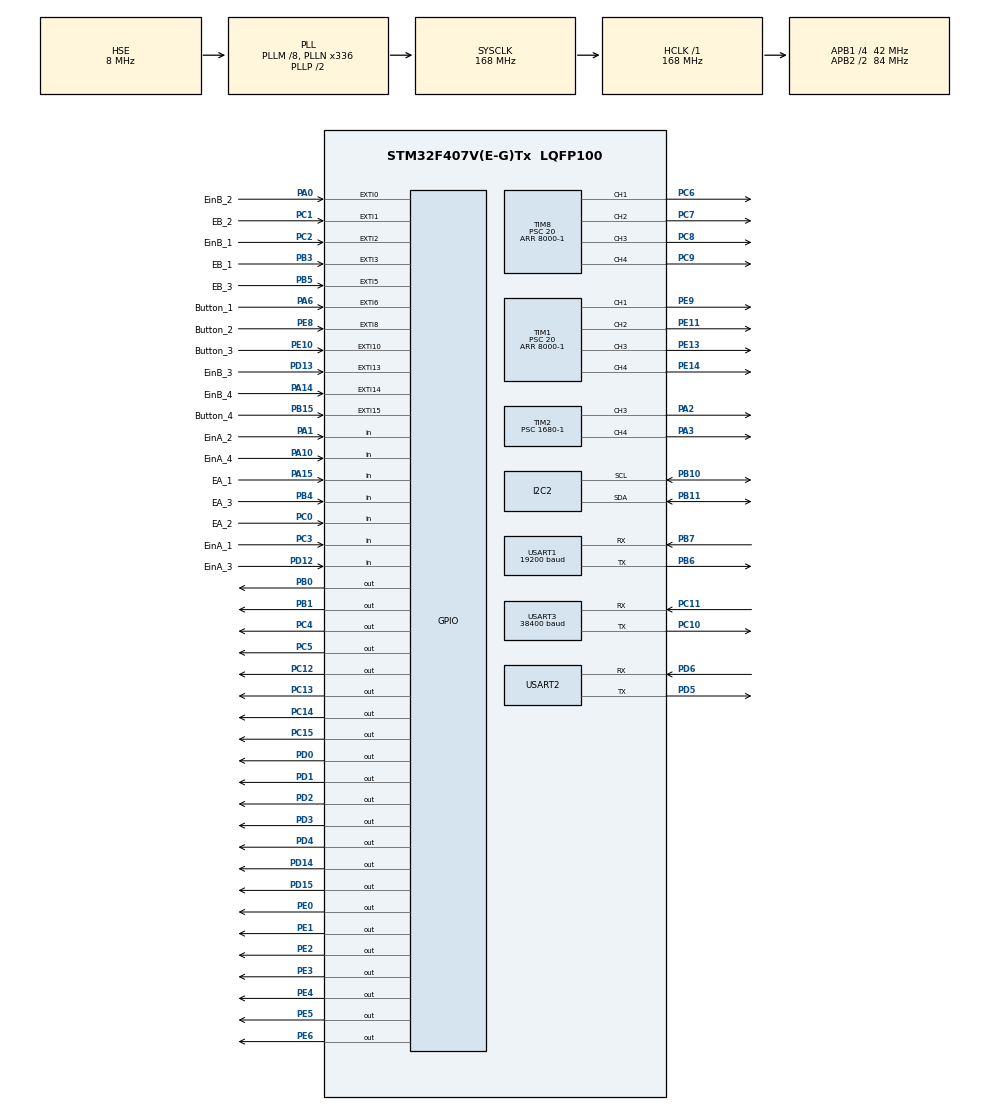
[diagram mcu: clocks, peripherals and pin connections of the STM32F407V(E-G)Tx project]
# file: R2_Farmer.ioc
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Mcu.Family=STM32F4
Mcu.Name=STM32F407V(E-G)Tx
Mcu.Package=LQFP100
NVIC.EXTI0_IRQn=true\:0\:0\:false\:false\:true\:true\:true\:true
NVIC.EXTI15_10_IRQn=true\:0\:0\:false\:false\:true\:true\:true\:true
NVIC.EXTI1_IRQn=true\:0\:0\:false\:false\:true\:true\:true\:true
NVIC.EXTI2_IRQn=true\:0\:0\:false\:false\:true\:true\:true\:true
NVIC.EXTI3_IRQn=true\:0\:0\:false\:false\:true\:true\:true\:true
NVIC.EXTI9_5_IRQn=true\:0\:0\:false\:false\:true\:true\:true\:true
NVIC.PriorityGroup=NVIC_PRIORITYGROUP_0
NVIC.TIM1_CC_IRQn=true\:0\:0\:false\:false\:true\:true\:true\:true
NVIC.TIM2_IRQn=true\:0\:0\:false\:false\:true\:true\:true\:true
NVIC.TIM8_CC_IRQn=true\:0\:0\:false\:false\:true\:true\:true\:true
NVIC.USART1_IRQn=true\:0\:0\:false\:false\:true\:true\:true\:true
NVIC.USART2_IRQn=true\:0\:0\:false\:false\:true\:true\:true\:true
NVIC.USART3_IRQn=true\:0\:0\:false\:false\:true\:true\:true\:true
PA0-WKUP.GPIO_Label=EinB_2
PA0-WKUP.GPIO_ModeDefaultEXTI=GPIO_MODE_IT_RISING
PA0-WKUP.GPIO_PuPd=GPIO_PULLUP
PA0-WKUP.Signal=GPXTI0
PA1.GPIO_Label=EinA_2
PA1.GPIO_PuPd=GPIO_PULLUP
PA1.Signal=GPIO_Input
PA10.GPIO_Label=EinA_4
PA10.GPIO_PuPd=GPIO_PULLUP
PA10.Signal=GPIO_Input
PA14.GPIO_Label=EinB_4
PA14.GPIO_PuPd=GPIO_PULLUP
PA14.Signal=GPXTI14
PA15.GPIO_Label=EA_1
PA15.GPIO_Mode=GPIO_MODE_INPUT
PA15.GPIO_PuPd=GPIO_PULLUP
PA15.Signal=GPIO_Input
PA2.GPIO_ModeDefaultPP=GPIO_MODE_AF_OD
PA2.GPIO_PuPd=GPIO_PULLDOWN
PA2.GPIO_Speed=GPIO_SPEED_FREQ_VERY_HIGH
PA2.Signal=S_TIM2_CH3
PA3.GPIO_ModeDefaultPP=GPIO_MODE_AF_OD
PA3.GPIO_PuPd=GPIO_PULLDOWN
PA3.GPIO_Speed=GPIO_SPEED_FREQ_VERY_HIGH
PA3.Signal=S_TIM2_CH4
PA6.GPIO_Label=Button_1
PA6.GPIO_ModeDefaultEXTI=GPIO_MODE_IT_FALLING
PA6.GPIO_PuPd=GPIO_PULLUP
PA6.Signal=GPXTI6
PB0.GPIO_ModeDefaultOutputPP=GPIO_MODE_OUTPUT_OD
PB0.GPIO_PuPd=GPIO_NOPULL
PB0.GPIO_Speed=GPIO_SPEED_FREQ_VERY_HIGH
PB0.Signal=GPIO_Output
PB1.GPIO_ModeDefaultOutputPP=GPIO_MODE_OUTPUT_OD
PB1.GPIO_PuPd=GPIO_NOPULL
PB1.GPIO_Speed=GPIO_SPEED_FREQ_VERY_HIGH
PB1.Signal=GPIO_Output
PB10.Mode=I2C
PB10.Signal=I2C2_SCL
PB11.Mode=I2C
PB11.Signal=I2C2_SDA
PB15.GPIO_Label=Button_4
PB15.GPIO_ModeDefaultEXTI=GPIO_MODE_IT_FALLING
PB15.GPIO_PuPd=GPIO_PULLUP
PB15.Signal=GPXTI15
PB3.GPIO_Label=EB_1
PB3.GPIO_ModeDefaultEXTI=GPIO_MODE_IT_RISING
PB3.GPIO_PuPd=GPIO_PULLUP
PB3.Signal=GPXTI3
PB4.GPIO_Label=EA_3
PB4.GPIO_Mode=GPIO_MODE_INPUT
PB4.GPIO_PuPd=GPIO_PULLUP
PB4.Signal=GPIO_Input
PB5.GPIO_Label=EB_3
PB5.GPIO_ModeDefaultEXTI=GPIO_MODE_IT_RISING
PB5.GPIO_PuPd=GPIO_PULLUP
PB5.Signal=GPXTI5
PB6.Mode=Asynchronous
PB6.Signal=USART1_TX
PB7.Mode=Asynchronous
PB7.Signal=USART1_RX
PC0.GPIO_Label=EA_2
PC0.GPIO_PuPd=GPIO_PULLUP
PC0.Signal=GPIO_Input
PC1.GPIO_Label=EB_2
PC1.GPIO_ModeDefaultEXTI=GPIO_MODE_IT_RISING
PC1.GPIO_PuPd=GPIO_PULLUP
PC1.Signal=GPXTI1
PC10.Mode=Asynchronous
PC10.Signal=USART3_TX
PC11.Mode=Asynchronous
PC11.Signal=USART3_RX
PC12.GPIO_ModeDefaultOutputPP=GPIO_MODE_OUTPUT_OD
PC12.GPIO_PuPd=GPIO_NOPULL
PC12.GPIO_Speed=GPIO_SPEED_FREQ_VERY_HIGH
PC12.PinState=GPIO_PIN_RESET
PC12.Signal=GPIO_Output
PC13-ANTI_TAMP.GPIO_ModeDefaultOutputPP=GPIO_MODE_OUTPUT_OD
PC13-ANTI_TAMP.GPIO_PuPd=GPIO_NOPULL
PC13-ANTI_TAMP.PinState=GPIO_PIN_RESET
PC13-ANTI_TAMP.Signal=GPIO_Output
PC14-OSC32_IN.GPIO_ModeDefaultOutputPP=GPIO_MODE_OUTPUT_OD
PC14-OSC32_IN.GPIO_PuPd=GPIO_NOPULL
PC14-OSC32_IN.Signal=GPIO_Output
PC15-OSC32_OUT.GPIO_ModeDefaultOutputPP=GPIO_MODE_OUTPUT_OD
PC15-OSC32_OUT.GPIO_PuPd=GPIO_NOPULL
PC15-OSC32_OUT.Signal=GPIO_Output
PC2.GPIO_Label=EinB_1
PC2.GPIO_ModeDefaultEXTI=GPIO_MODE_IT_RISING
PC2.GPIO_PuPd=GPIO_PULLUP
PC2.Signal=GPXTI2
PC3.GPIO_Label=EinA_1
PC3.GPIO_PuPd=GPIO_PULLUP
PC3.Signal=GPIO_Input
PC4.GPIO_ModeDefaultOutputPP=GPIO_MODE_OUTPUT_OD
PC4.GPIO_PuPd=GPIO_NOPULL
PC4.GPIO_Speed=GPIO_SPEED_FREQ_VERY_HIGH
PC4.PinState=GPIO_PIN_RESET
PC4.Signal=GPIO_Output
PC5.GPIO_ModeDefaultOutputPP=GPIO_MODE_OUTPUT_OD
PC5.GPIO_PuPd=GPIO_NOPULL
PC5.GPIO_Speed=GPIO_SPEED_FREQ_VERY_HIGH
PC5.PinState=GPIO_PIN_RESET
PC5.Signal=GPIO_Output
PC6.GPIO_ModeDefaultPP=GPIO_MODE_AF_OD
PC6.GPIO_PuPd=GPIO_PULLDOWN
PC6.GPIO_Speed=GPIO_SPEED_FREQ_VERY_HIGH
PC6.Signal=S_TIM8_CH1
PC7.GPIO_ModeDefaultPP=GPIO_MODE_AF_OD
PC7.GPIO_PuPd=GPIO_PULLDOWN
PC7.GPIO_Speed=GPIO_SPEED_FREQ_VERY_HIGH
PC7.Signal=S_TIM8_CH2
PC8.GPIO_ModeDefaultPP=GPIO_MODE_AF_OD
PC8.GPIO_PuPd=GPIO_PULLDOWN
PC8.GPIO_Speed=GPIO_SPEED_FREQ_VERY_HIGH
PC8.Signal=S_TIM8_CH3
PC9.GPIO_ModeDefaultPP=GPIO_MODE_AF_OD
PC9.GPIO_PuPd=GPIO_PULLDOWN
PC9.GPIO_Speed=GPIO_SPEED_FREQ_VERY_HIGH
PC9.Signal=S_TIM8_CH4
PD0.GPIO_ModeDefaultOutputPP=GPIO_MODE_OUTPUT_OD
PD0.GPIO_PuPd=GPIO_NOPULL
PD0.GPIO_Speed=GPIO_SPEED_FREQ_VERY_HIGH
PD0.PinState=GPIO_PIN_RESET
PD0.Signal=GPIO_Output
PD1.GPIO_ModeDefaultOutputPP=GPIO_MODE_OUTPUT_OD
PD1.GPIO_PuPd=GPIO_NOPULL
PD1.GPIO_Speed=GPIO_SPEED_FREQ_VERY_HIGH
PD1.PinState=GPIO_PIN_RESET
PD1.Signal=GPIO_Output
PD12.GPIO_Label=EinA_3
PD12.GPIO_PuPd=GPIO_PULLUP
PD12.Signal=GPIO_Input
PD13.GPIO_Label=EinB_3
PD13.GPIO_ModeDefaultEXTI=GPIO_MODE_IT_RISING
PD13.GPIO_PuPd=GPIO_PULLUP
PD13.Signal=GPXTI13
PD14.GPIO_PuPd=GPIO_PULLDOWN
PD14.Signal=GPIO_Output
PD15.GPIO_PuPd=GPIO_PULLDOWN
PD15.Signal=GPIO_Output
PD2.GPIO_ModeDefaultOutputPP=GPIO_MODE_OUTPUT_OD
PD2.GPIO_PuPd=GPIO_NOPULL
PD2.GPIO_Speed=GPIO_SPEED_FREQ_VERY_HIGH
PD2.PinState=GPIO_PIN_RESET
PD2.Signal=GPIO_Output
PD3.GPIO_ModeDefaultOutputPP=GPIO_MODE_OUTPUT_OD
PD3.GPIO_PuPd=GPIO_NOPULL
PD3.GPIO_Speed=GPIO_SPEED_FREQ_VERY_HIGH
PD3.Signal=GPIO_Output
PD4.GPIO_ModeDefaultOutputPP=GPIO_MODE_OUTPUT_OD
PD4.GPIO_PuPd=GPIO_NOPULL
PD4.GPIO_Speed=GPIO_SPEED_FREQ_VERY_HIGH
PD4.Signal=GPIO_Output
PD5.Mode=Asynchronous
PD5.Signal=USART2_TX
PD6.Mode=Asynchronous
PD6.Signal=USART2_RX
PE0.GPIO_ModeDefaultOutputPP=GPIO_MODE_OUTPUT_OD
PE0.GPIO_PuPd=GPIO_NOPULL
PE0.GPIO_Speed=GPIO_SPEED_FREQ_VERY_HIGH
PE0.PinState=GPIO_PIN_RESET
PE0.Signal=GPIO_Output
PE1.GPIO_ModeDefaultOutputPP=GPIO_MODE_OUTPUT_OD
PE1.GPIO_PuPd=GPIO_NOPULL
PE1.GPIO_Speed=GPIO_SPEED_FREQ_VERY_HIGH
PE1.PinState=GPIO_PIN_RESET
PE1.Signal=GPIO_Output
PE10.GPIO_Label=Button_3
PE10.GPIO_ModeDefaultEXTI=GPIO_MODE_IT_FALLING
PE10.GPIO_PuPd=GPIO_PULLUP
PE10.Signal=GPXTI10
PE11.GPIO_ModeDefaultPP=GPIO_MODE_AF_OD
PE11.GPIO_PuPd=GPIO_PULLDOWN
PE11.GPIO_Speed=GPIO_SPEED_FREQ_VERY_HIGH
PE11.Signal=S_TIM1_CH2
PE13.GPIO_ModeDefaultPP=GPIO_MODE_AF_OD
PE13.GPIO_PuPd=GPIO_PULLDOWN
PE13.GPIO_Speed=GPIO_SPEED_FREQ_VERY_HIGH
PE13.Signal=S_TIM1_CH3
PE14.GPIO_ModeDefaultPP=GPIO_MODE_AF_OD
PE14.GPIO_PuPd=GPIO_PULLDOWN
PE14.GPIO_Speed=GPIO_SPEED_FREQ_VERY_HIGH
PE14.Signal=S_TIM1_CH4
PE2.GPIO_ModeDefaultOutputPP=GPIO_MODE_OUTPUT_OD
PE2.GPIO_PuPd=GPIO_NOPULL
PE2.GPIO_Speed=GPIO_SPEED_FREQ_VERY_HIGH
PE2.Signal=GPIO_Output
PE3.GPIO_ModeDefaultOutputPP=GPIO_MODE_OUTPUT_OD
PE3.GPIO_PuPd=GPIO_NOPULL
PE3.GPIO_Speed=GPIO_SPEED_FREQ_VERY_HIGH
PE3.Signal=GPIO_Output
PE4.GPIO_ModeDefaultOutputPP=GPIO_MODE_OUTPUT_OD
PE4.GPIO_PuPd=GPIO_NOPULL
PE4.GPIO_Speed=GPIO_SPEED_FREQ_VERY_HIGH
PE4.PinState=GPIO_PIN_RESET
PE4.Signal=GPIO_Output
PE5.GPIO_ModeDefaultOutputPP=GPIO_MODE_OUTPUT_OD
PE5.GPIO_PuPd=GPIO_NOPULL
PE5.GPIO_Speed=GPIO_SPEED_FREQ_VERY_HIGH
PE5.PinState=GPIO_PIN_RESET
PE5.Signal=GPIO_Output
PE6.GPIO_ModeDefaultOutputPP=GPIO_MODE_OUTPUT_OD
PE6.GPIO_PuPd=GPIO_NOPULL
PE6.GPIO_Speed=GPIO_SPEED_FREQ_VERY_HIGH
PE6.PinState=GPIO_PIN_RESET
PE6.Signal=GPIO_Output
PE8.GPIO_Label=Button_2
PE8.GPIO_ModeDefaultEXTI=GPIO_MODE_IT_FALLING
PE8.GPIO_PuPd=GPIO_PULLUP
PE8.Signal=GPXTI8
PE9.GPIO_ModeDefaultPP=GPIO_MODE_AF_OD
PE9.GPIO_PuPd=GPIO_PULLDOWN
PE9.GPIO_Speed=GPIO_SPEED_FREQ_VERY_HIGH
PE9.Signal=S_TIM1_CH1
PH0-OSC_IN.Mode=HSE-External-Oscillator
PH0-OSC_IN.Signal=RCC_OSC_IN
PH1-OSC_OUT.Mode=HSE-External-Oscillator
PH1-OSC_OUT.Signal=RCC_OSC_OUT
ProjectManager.HeapSize=0x200
ProjectManager.StackSize=0x400
ProjectManager.TargetToolchain=STM32CubeIDE
RCC.48MHZClocksFreq_Value=48000000
RCC.AHBFreq_Value=168000000
RCC.APB1CLKDivider=RCC_HCLK_DIV4
RCC.APB1Freq_Value=42000000
RCC.APB1TimFreq_Value=84000000
RCC.APB2CLKDivider=RCC_HCLK_DIV2
RCC.APB2Freq_Value=84000000
RCC.APB2TimFreq_Value=168000000
RCC.CortexFreq_Value=168000000
RCC.HCLKFreq_Value=168000000
RCC.HSE_VALUE=8000000
RCC.HSI_VALUE=16000000
RCC.LSE_VALUE=32768
RCC.PLLM=8
RCC.PLLN=336
RCC.PLLQ=7
RCC.PLLSourceVirtual=RCC_PLLSOURCE_HSE
RCC.SYSCLKFreq_VALUE=168000000
RCC.SYSCLKSource=RCC_SYSCLKSOURCE_PLLCLK
RCC.VCOOutputFreq_Value=336000000
SH.S_TIM1_CH1.0=TIM1_CH1,PWM Generation1 CH1
SH.S_TIM1_CH2.0=TIM1_CH2,PWM Generation2 CH2
SH.S_TIM1_CH3.0=TIM1_CH3,PWM Generation3 CH3
SH.S_TIM1_CH4.0=TIM1_CH4,PWM Generation4 CH4
SH.S_TIM2_CH3.0=TIM2_CH3,PWM Generation3 CH3
SH.S_TIM2_CH4.0=TIM2_CH4,PWM Generation4 CH4
SH.S_TIM8_CH1.0=TIM8_CH1,PWM Generation1 CH1
SH.S_TIM8_CH2.0=TIM8_CH2,PWM Generation2 CH2
SH.S_TIM8_CH3.0=TIM8_CH3,PWM Generation3 CH3
SH.S_TIM8_CH4.0=TIM8_CH4,PWM Generation4 CH4
TIM1.Channel-PWM\ Generation1\ CH1=TIM_CHANNEL_1
TIM1.Channel-PWM\ Generation2\ CH2=TIM_CHANNEL_2
TIM1.Channel-PWM\ Generation3\ CH3=TIM_CHANNEL_3
TIM1.Channel-PWM\ Generation4\ CH4=TIM_CHANNEL_4
TIM1.Period=8000-1
TIM1.Prescaler=20
TIM2.Channel-PWM\ Generation3\ CH3=TIM_CHANNEL_3
TIM2.Channel-PWM\ Generation4\ CH4=TIM_CHANNEL_4
TIM2.Period=999
TIM2.Prescaler=1680-1
TIM8.Channel-PWM\ Generation1\ CH1=TIM_CHANNEL_1
TIM8.Channel-PWM\ Generation2\ CH2=TIM_CHANNEL_2
TIM8.Channel-PWM\ Generation3\ CH3=TIM_CHANNEL_3
TIM8.Channel-PWM\ Generation4\ CH4=TIM_CHANNEL_4
TIM8.Period=8000-1
TIM8.Prescaler=20
USART1.BaudRate=19200
USART1.VirtualMode=VM_ASYNC
USART2.VirtualMode=VM_ASYNC
USART3.BaudRate=38400
USART3.VirtualMode=VM_ASYNC
VP_TIM1_VS_ClockSourceINT.Mode=Internal
VP_TIM2_VS_ClockSourceINT.Mode=Internal
VP_TIM8_VS_ClockSourceINT.Mode=Internal
board=STM32F407G-DISC1

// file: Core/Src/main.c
/* USER CODE BEGIN Header */
/**
  ******************************************************************************
  * @file           : main.c
  * @brief          : Main program body
  ******************************************************************************
  * @attention
  *
  * Copyright (c) 2024 STMicroelectronics.
  * All rights reserved.
  *
  * This software is licensed under terms that can be found in the LICENSE file
  * in the root directory of this software component.
  * If no LICENSE file comes with this software, it is provided AS-IS.
  *
  ******************************************************************************
  */
/* USER CODE END Header */
#include "main.h"

/* USER CODE BEGIN PTD */

/**
 * @brief movingState enumeration
 */
typedef enum
{
	VOID,

	RED_STEP,
	RED_STORAGE,
	RED_FIND_BALL,
	RED_FACING_SILO,
	RED_FIND_SILO,

	RED_RETRY,
	RED_RETRY_STORAGE,
	RED_RETRY_FIND_BALL,
	RED_RETRY_FACING_SILO,
	RED_RETRY_FIND_SILO,

	BLUE_STEP,
	BLUE_STORAGE,
	BLUE_FIND_BALL,
	BLUE_FACING_SILO,
	BLUE_FIND_SILO,

	BLUE_RETRY,
	BLUE_RETRY_STORAGE,
	BLUE_RETRY_FIND_BALL,
	BLUE_RETRY_FACING_SILO,
	BLUE_RETRY_FIND_SILO,
} movingState;
/* USER CODE END PTD */

I2C_HandleTypeDef hi2c2;

TIM_HandleTypeDef htim1;
TIM_HandleTypeDef htim2;
TIM_HandleTypeDef htim8;

UART_HandleTypeDef huart1;
UART_HandleTypeDef huart2;
UART_HandleTypeDef huart3;

/* USER CODE BEGIN PV */
volatile int counter1 = 0, counter2 = 0, counter3 = 0;
volatile int counterIN1 = 0, counterIN2 = 0, counterIN3 = 0, counterIN4 = 0;

/*   IMU Sensor MPU6050   */
uint8_t receive[50];
uint32_t rxIndex = 0;
uint32_t dataIndex = 0;
double sensorData[3];

/*   CAMERA   */
/*
 * Data from camera:
 * index 0 -> Ball Distance
 * index 1 -> Ball Angle
 * index 2 -> Ball Existence -> Diubah jadi cek bola di dalam robot (0 gak ada bola, 1 ada bola)
 * index 3 -> Silo 1 Distance
 * index 4 -> Silo 1 Angle
 * index 5 -> Silo 2 Distance
 * index 6 -> Silo 2 Angle
 * index 7 -> Silo 3 Distance
 * index 8 -> Silo 3 Angle
 * index 9 -> Silo 4 Distance
 * index 10 -> Silo 4 Angle
 * index 11 -> Silo 5 Distance
 * index 12 -> Silo 5 Angle
 * index 13 -> Silo 1 is full?
 * index 14 -> Silo 2 is full?
 * index 15 -> Silo 3 is full?
 * index 16 -> Silo 4 is full?
 * index 17 -> Silo 5 is full?
 *
 * Default distance for silo if its not detected is 9999
 * Default angle for silo if its not detected is 999
 */
uint8_t receiveCAM[50];
uint32_t indexCAM = 0;
uint32_t dataindexCAM = 0;
int camera[18];

/*   Arduino Mega   */
/*
 * Data from Arduino Mega:
 * index 0 -> Front left Distance
 * index 1 -> Front right Distance
 * index 2 -> Left Distance
 * index 3 -> Proximity
 */
uint8_t receiveMEGA[50];
uint32_t indexMEGA = 0;
uint32_t dataindexMEGA = 0;
int sensorMEGA[4];
/* USER CODE END PV */

void SystemClock_Config(void);
static void MX_GPIO_Init(void);
static void MX_I2C2_Init(void);
static void MX_TIM1_Init(void);
static void MX_TIM2_Init(void);
static void MX_TIM8_Init(void);
static void MX_USART1_UART_Init(void);
static void MX_USART2_UART_Init(void);
static void MX_USART3_UART_Init(void);

/* USER CODE BEGIN 0 */
movingState mode = VOID;

/**
 * @brief	Callback function for GPIO EXTI (External Interrupt).
 *
 * This function handles interrupts generated by the external GPIO pins.
 * It updates encoder counters and changes the operating mode based on button presses.
 *
 * @param	GPIO_Pin The GPIO pin that triggered the interrupt.
 * @return	None.
 */
void HAL_GPIO_EXTI_Callback(uint16_t GPIO_Pin)
{
	// ENCODER
	if((GPIO_Pin == EB_1_Pin) && (HAL_GPIO_ReadPin(EB_1_GPIO_Port, EB_1_Pin) == GPIO_PIN_SET))
	{
		HAL_GPIO_ReadPin(EA_1_GPIO_Port, EA_1_Pin) ? counter1-- : counter1++;
		__HAL_GPIO_EXTI_CLEAR_IT(EB_1_Pin);
	}
	else if((GPIO_Pin == EB_2_Pin) && (HAL_GPIO_ReadPin(EB_2_GPIO_Port, EB_2_Pin) == GPIO_PIN_SET))
	{
		HAL_GPIO_ReadPin(EA_2_GPIO_Port, EA_2_Pin) ? counter2-- : counter2++;
		__HAL_GPIO_EXTI_CLEAR_IT(EB_2_Pin);
	}
	else if((GPIO_Pin == EB_3_Pin) && (HAL_GPIO_ReadPin(EB_3_GPIO_Port, EB_3_Pin) == GPIO_PIN_SET))
	{
		HAL_GPIO_ReadPin(EA_3_GPIO_Port, EA_3_Pin) ? counter3-- : counter3++;
		__HAL_GPIO_EXTI_CLEAR_IT(EB_3_Pin);
	}
	else if((GPIO_Pin == EinB_1_Pin) && (HAL_GPIO_ReadPin(EinB_1_GPIO_Port, EinB_1_Pin) == GPIO_PIN_SET))
	{
		HAL_GPIO_ReadPin(EinA_1_GPIO_Port, EinA_1_Pin) ? counterIN1++ : counterIN1--;
		__HAL_GPIO_EXTI_CLEAR_IT(EinB_1_Pin);
	}
	else if((GPIO_Pin == EinB_2_Pin) && (HAL_GPIO_ReadPin(EinB_2_GPIO_Port, EinB_2_Pin) == GPIO_PIN_SET))
	{
		HAL_GPIO_ReadPin(EinA_2_GPIO_Port, EinA_2_Pin) ? counterIN2-- : counterIN2++;
		__HAL_GPIO_EXTI_CLEAR_IT(EinB_2_Pin);
	}
	else if((GPIO_Pin == EinB_3_Pin) && (HAL_GPIO_ReadPin(EinB_3_GPIO_Port, EinB_3_Pin) == GPIO_PIN_SET))
	{
		HAL_GPIO_ReadPin(EinA_3_GPIO_Port, EinA_3_Pin) ? counterIN3++ : counterIN3--;
		__HAL_GPIO_EXTI_CLEAR_IT(EinB_3_Pin);
	}
	else if((GPIO_Pin == EinB_4_Pin) && (HAL_GPIO_ReadPin(EinB_4_GPIO_Port, EinB_4_Pin) == GPIO_PIN_SET))
	{
		HAL_GPIO_ReadPin(EinA_4_GPIO_Port, EinA_4_Pin) ? counterIN4-- : counterIN4++;
		__HAL_GPIO_EXTI_CLEAR_IT(EinB_4_Pin);
	}

	// BUTTON
	else if((GPIO_Pin == Button_1_Pin) && (HAL_GPIO_ReadPin(Button_1_GPIO_Port, Button_1_Pin) == GPIO_PIN_RESET))
	{
		mode = mode + RED_STEP;
		if(mode > RED_STEP)
		{
			mode = VOID;
		}
		__HAL_GPIO_EXTI_CLEAR_IT(Button_1_Pin);
	}
	else if((GPIO_Pin == Button_2_Pin) && (HAL_GPIO_ReadPin(Button_2_GPIO_Port, Button_2_Pin) == GPIO_PIN_RESET))
	{
		mode = mode + RED_RETRY;
		if(mode > RED_RETRY)
		{
			mode = VOID;
		}
		__HAL_GPIO_EXTI_CLEAR_IT(Button_2_Pin);
	}
	else if((GPIO_Pin == Button_3_Pin) && (HAL_GPIO_ReadPin(Button_3_GPIO_Port, Button_3_Pin) == GPIO_PIN_RESET))
	{
		mode = mode + BLUE_STEP;
		if(mode > BLUE_STEP)
		{
			mode = VOID;
		}
		__HAL_GPIO_EXTI_CLEAR_IT(Button_3_Pin);
	}
	else if((GPIO_Pin == Button_4_Pin) && (HAL_GPIO_ReadPin(Button_4_GPIO_Port, Button_4_Pin) == GPIO_PIN_RESET))
	{
		mode = mode + BLUE_RETRY;
		if(mode > BLUE_RETRY)
		{
			mode = VOID;
		}
		__HAL_GPIO_EXTI_CLEAR_IT(Button_4_Pin);
	}
}
/* USER CODE END 0 */

int main(void)
{

  /* MCU Configuration--------------------------------------------------------*/

  /* Reset of all peripherals, Initializes the Flash interface and the Systick. */
  HAL_Init();

  /* Configure the system clock */
  SystemClock_Config();

  /* Initialize all configured peripherals */
  MX_GPIO_Init();
  MX_I2C2_Init();
  MX_TIM1_Init();
  MX_TIM2_Init();
  MX_TIM8_Init();
  MX_USART1_UART_Init();
  MX_USART2_UART_Init();
  MX_USART3_UART_Init();
  /* USER CODE BEGIN 2 */

  // initialize TIMER PWM interrupt.
  if(HAL_TIM_PWM_Start_IT(&htim1, TIM_CHANNEL_1) != HAL_OK)
  {
	  Error_Handler();
  }
  if(HAL_TIM_PWM_Start_IT(&htim1, TIM_CHANNEL_2) != HAL_OK)
  {
	  Error_Handler();
  }
  if(HAL_TIM_PWM_Start_IT(&htim1, TIM_CHANNEL_3) != HAL_OK)
  {
	  Error_Handler();
  }
  if(HAL_TIM_PWM_Start_IT(&htim1, TIM_CHANNEL_4) != HAL_OK)
  {
	  Error_Handler();
  }
  if(HAL_TIM_PWM_Start_IT(&htim8, TIM_CHANNEL_1) != HAL_OK)
  {
	  Error_Handler();
  }
  if(HAL_TIM_PWM_Start_IT(&htim8, TIM_CHANNEL_2) != HAL_OK)
  {
	  Error_Handler();
  }
  if(HAL_TIM_PWM_Start_IT(&htim8, TIM_CHANNEL_3) != HAL_OK)
  {
	  Error_Handler();
  }
  if(HAL_TIM_PWM_Start_IT(&htim8, TIM_CHANNEL_4) != HAL_OK)
  {
	  Error_Handler();
  }
  if(HAL_TIM_PWM_Start_IT(&htim2, TIM_CHANNEL_3) != HAL_OK)
  {
	  Error_Handler();
  }
  if(HAL_TIM_PWM_Start_IT(&htim2, TIM_CHANNEL_4) != HAL_OK)
  {
	  Error_Handler();
  }

  // initialize USART interrupt.
  if(HAL_UART_Receive_IT(&huart1, receive, 1) != HAL_OK)
  {
	  Error_Handler();
  }
  if(HAL_UART_Receive_IT(&huart2, receiveCAM, 1) != HAL_OK)
  {
	  Error_Handler();
  }
  if(HAL_UART_Receive_IT(&huart3, receiveMEGA, 1) != HAL_OK)
  {
	  Error_Handler();
  }

  // initialize silos.
  initializeSilos();

  // define target position for the red team.
  external_global red_step[3] = {
		  {0.0, 6000.0, 0.0},
		  {3700.0, 6000.0, 0.0},
		  {3700.0, 9200.0, 0.0}
  };
  external_global red_storage = {900.0, 9050.0, 0.0};
  external_global red_silo = {3700.0, 9050.0, 90.0};
  external_global red_throwBall = {900.0, 8000.0, -179.0};
  external_global redBall[3] = {
		  {900.0, 9050.0, -90.0},
		  {900.0, 10050.0, -179.0},
		  {900.0, 8050.0, 0.0}
  };

  // define target position for the red team in retry condition.
  external_global red_retry[3] = {
		  {500.0, 680.0, 0.0},
		  {3800.0, 680.0, 0.0},
		  {3800.0, 4000.0, 0.0},
  };
  external_global red_retry_storage = {1000.0, 4000.0, 0.0};
  external_global red_retry_silo = {3800.0, 4000.0, 90.0};
  external_global red_retry_throwBall = {1000.0, 3000.0, -179.0};
  external_global redRetryBall[3] = {
		  {1000.0, 4000.0, -90.0},
		  {1000.0, 5000.0, -179.0},
		  {1000.0, 3000.0, 0.0}
  };

  // define target position for the blue team.
  external_global blue_step[3] = {
		  {0.0, 6000.0, 0.0},
		  {-3650.0, 6000.0, 0.0},
		  {-3650.0, 9050.0, 0.0}
  };
  external_global blue_storage = {-900.0, 9150.0, 0.0};
  external_global blue_silo = {-3650.0, 9150.0, -90.0};
  external_global blue_throwBall = {-900.0, 8100.0, -179.0};
  external_global blueBall[3] = {
		  {-1000.0, 9150.0, 90.0},
		  {-900.0, 10150.0, -179.0},
		  {-900.0, 8150.0, 0.0}
  };

  // define target position for the blue team in retry condition.
  external_global blue_retry[3] = {
		  {-500.0, 770.0, 0.0},
		  {-3750.0, 820.0, 0.0},
		  {-3750.0, 4000.0, 0.0}
  };
  external_global blue_retry_storage = {-950.0, 4000.0, 0.0};
  external_global blue_retry_silo = {-3700.0, 4000.0, -90.0};
  external_global blue_retry_throwBall = {-950.0, 3000.0, 179.0};
  external_global blueRetryBall[3] = {
		  {-1050.0, 4000.0, 90.0},
		  {-950.0, 5000.0, -179.0},
		  {-950.0, 3000.0, 0.0}
  };

  /* PID_parameter
	double Kp;
	double Ki;
	double Kd;
	double KpH;
	double smoothingFactor;
	int maxVelocity;
	double xyTolerance;
	double hTolerance;
   */
  // define PID parameter for the red team.
  PID_parameter red_step_parameters[3] = {
		  {1.25, 0.0, 0.0, 2.5, 0.8, 4000, 200, 2},
		  {1.8, 0.0, 0.0, 2.5, 0.8, 3500, 100, 2},
		  {1.5, 0.0, 0.0, 2.5, 0.8, 3500, 200, 5}
  };

  // define PID parameter for the red team in retry condition.
  PID_parameter red_retry_parameters[3] = {
		  {4.0, 0.0, 0.0, 2.5, 0.8, 2500, 200, 2},
		  {1.6, 0.0, 0.0, 2.5, 0.75, 3500, 200, 2},
		  {1.5, 0.0, 0.0, 3.0, 0.75, 3500, 300, 5}
  };

  // calculate the number of red team step.
  uint16_t red_step_numPoints = sizeof(red_step) / sizeof(red_step[0]);
  uint16_t red_retry_numPoints = sizeof(red_retry) / sizeof(red_retry[0]);

  // define PID parameter for the blue team.
  PID_parameter blue_step_parameters[3] = {
		  {1.15, 0.0, 0.0, 2.5, 0.7, 3200, 200, 2},
		  {1.65, 0.0, 0.0, 3.0, 0.7, 3300, 200, 1},
		  {1.5, 0.0, 0.0, 2.5, 0.75, 3200, 200, 5}
  };

  // define PID parameter for the blue team in retry condition.
  PID_parameter blue_retry_parameters[3] = {
		  {4.0, 0.0, 0.0, 2.5, 0.8, 2500, 200, 2},
		  {1.4, 0.0, 0.0, 2.5, 0.75, 3500, 200, 1},
		  {1.5, 0.0, 0.0, 3.0, 0.75, 3500, 300, 5}
  };

  // calculate the number of blue team step.
  uint16_t blue_step_numPoints = sizeof(blue_step) / sizeof(blue_step[0]);
  uint16_t blue_retry_numPoints = sizeof(blue_retry) / sizeof(blue_retry[0]);
  /* USER CODE END 2 */

  /* Infinite loop */
  /* USER CODE BEGIN WHILE */
  while (1)
  {
	  lcd_init();

	  // get HC-SR 04 values.
	  int FL_distance = sensorMEGA[0]; // Front Left
	  int FR_distance = sensorMEGA[2]; // Front Right

	  // get global current position from external encoders.
	  external_global position = odometry_eg();

	  // display global current position from external encoders.
	  display_EG();

	  // Prevent error measurement. The position values of the robot becomes large suddenly.
	  // Usually, this is can happen because of the communication error.
	  // There is various factors this error can happen,
	  // but in most of the condition the main problem is the cable.
	  if(fabs(position.x) > 99999 || fabs(position.y) > 99999)
	  {
		  Error_Handler();
	  }

	  // check if the robot has reached the setpoint.
	  bool red_step_check = atTargetEG(red_step[red_step_numPoints-1], position, 400, 5);
	  bool red_storage_check = atTargetEG(red_storage, position, 400, 5);
	  bool red_silo_check = atTargetEG(red_silo, position, 400, 5);

	  bool red_retry_check = atTargetEG(red_retry[red_retry_numPoints-1], position, 400, 5);
	  bool red_retry_storage_check = atTargetEG(red_retry_storage, position, 400, 5);
	  bool red_retry_silo_check = atTargetEG(red_retry_silo, position, 400, 5);

	  bool blue_step_check = atTargetEG(blue_step[blue_step_numPoints-1], position, 400, 5);
	  bool blue_storage_check = atTargetEG(blue_storage, position, 400, 5);
	  bool blue_silo_check = atTargetEG(blue_silo, position, 400, 5);

	  bool blue_retry_check = atTargetEG(blue_retry[blue_retry_numPoints-1], position, 400, 5);
	  bool blue_retry_storage_check = atTargetEG(blue_retry_storage, position, 400, 5);
	  bool blue_retry_silo_check = atTargetEG(blue_retry_silo, position, 400, 5);

	  switch(mode)
	  {
	  case RED_STEP:
		  HAL_GPIO_WritePin(GPIOD, GPIO_PIN_14, GPIO_PIN_SET);
		  HAL_GPIO_WritePin(GPIOD, GPIO_PIN_15, GPIO_PIN_RESET);

		  PID_moveToCoordinate(red_step, red_step_parameters, red_step_numPoints);
		  if(red_step_check)
		  {
			  mode = RED_STORAGE;
		  }
		  break;

	  case RED_STORAGE:
		  HAL_GPIO_WritePin(GPIOD, GPIO_PIN_14, GPIO_PIN_RESET);
		  HAL_GPIO_WritePin(GPIOD, GPIO_PIN_15, GPIO_PIN_SET);

		  setMotorSpeed(1, 0);
		  setMotorSpeed(2, 0);
		  setMotorSpeed(7, 0);
		  PID_EG(red_storage, 2.0, 0.0, 0.0, 1.8, 0.9, 4500);
		  if(red_storage_check)
		  {
			  mode = RED_FIND_BALL;
		  }
		  break;

	  case RED_FIND_BALL:
		  HAL_GPIO_WritePin(GPIOD, GPIO_PIN_14, GPIO_PIN_SET);
		  HAL_GPIO_WritePin(GPIOD, GPIO_PIN_15, GPIO_PIN_RESET);

		  findAndTakeBall(redBall);
		  if(sensorMEGA[3] == 0 && camera[2] == 1)
		  {
			  mode = RED_FACING_SILO;
		  }
		  else if(sensorMEGA[3] == 0 && camera[2] == 0)
		  {
			  throwTheBall(red_throwBall, 1.5, 0.0, 0.0, 1.5);
		  }
		  break;

	  case RED_FACING_SILO:
		  HAL_GPIO_WritePin(GPIOD, GPIO_PIN_14, GPIO_PIN_RESET);
		  HAL_GPIO_WritePin(GPIOD, GPIO_PIN_15, GPIO_PIN_SET);

		  servo_write(120);
		  PID_EG(red_silo, 1.9, 0.0, 0.0, 1.5, 0.8, 3700);
		  if(red_silo_check)
		  {
			  mode = RED_FIND_SILO;
		  }
		  break;

	  case RED_FIND_SILO:
		  HAL_GPIO_WritePin(GPIOD, GPIO_PIN_14, GPIO_PIN_SET);
		  HAL_GPIO_WritePin(GPIOD, GPIO_PIN_15, GPIO_PIN_RESET);

		  placeBallInSilo(red_silo, 1.6, 0.0, 0.0, 1.5, 0.7, 2700);
		  if((FL_distance > 0 && FL_distance <= 10) || (FR_distance > 0 && FR_distance <= 10))
		  {
			  setMotorSpeed(1, -2000);
			  setMotorSpeed(2, -2000);
			  setMotorSpeed(7, -2800);
			  HAL_Delay(3000);
			  mode = RED_STORAGE;
		  }
		  break;

	  case RED_RETRY:
		  HAL_GPIO_WritePin(GPIOD, GPIO_PIN_14, GPIO_PIN_SET);
		  HAL_GPIO_WritePin(GPIOD, GPIO_PIN_15, GPIO_PIN_RESET);

		  PID_moveToCoordinate(red_retry, red_retry_parameters, red_retry_numPoints);
		  if(red_retry_check)
		  {
			  mode = RED_RETRY_STORAGE;
		  }
		  break;

	  case RED_RETRY_STORAGE:
		  HAL_GPIO_WritePin(GPIOD, GPIO_PIN_14, GPIO_PIN_RESET);
		  HAL_GPIO_WritePin(GPIOD, GPIO_PIN_15, GPIO_PIN_SET);

		  setMotorSpeed(1, 0);
		  setMotorSpeed(2, 0);
		  setMotorSpeed(7, 0);
		  PID_EG(red_retry_storage, 2.0, 0.0, 0.0, 1.5, 0.8, 4200);
		  if(red_retry_storage_check)
		  {
			  mode = RED_RETRY_FIND_BALL;
		  }
		  break;

	  case RED_RETRY_FIND_BALL:
		  HAL_GPIO_WritePin(GPIOD, GPIO_PIN_14, GPIO_PIN_SET);
		  HAL_GPIO_WritePin(GPIOD, GPIO_PIN_15, GPIO_PIN_RESET);

		  findAndTakeBall(redRetryBall);
		  if(sensorMEGA[3] == 0 && camera[2] == 1)
		  {
			  mode = RED_RETRY_FACING_SILO;
		  }
		  else if(sensorMEGA[3] == 0 && camera[2] == 0)
		  {
			  throwTheBall(red_retry_throwBall, 1.5, 0.0, 0.0, 1.5);
		  }
		  break;

	  case RED_RETRY_FACING_SILO:
		  HAL_GPIO_WritePin(GPIOD, GPIO_PIN_14, GPIO_PIN_RESET);
		  HAL_GPIO_WritePin(GPIOD, GPIO_PIN_15, GPIO_PIN_SET);

		  servo_write(120);
		  PID_EG(red_retry_silo, 1.8, 0.0, 0.0, 1.5, 0.8, 3700);
		  if(red_retry_silo_check)
		  {
			  mode = RED_RETRY_FIND_SILO;
		  }
		  break;

	  case RED_RETRY_FIND_SILO:
		  HAL_GPIO_WritePin(GPIOD, GPIO_PIN_14, GPIO_PIN_SET);
		  HAL_GPIO_WritePin(GPIOD, GPIO_PIN_15, GPIO_PIN_RESET);

		  placeBallInSilo(red_retry_silo, 1.6, 0.0, 0.0, 1.5, 0.7, 2700);
		  if((FL_distance > 0 && FL_distance <= 10) || (FR_distance > 0 && FR_distance <= 10))
		  {
			  setMotorSpeed(1, -2000);
			  setMotorSpeed(2, -2000);
			  setMotorSpeed(7, -2800);
			  HAL_Delay(3000);
			  mode = RED_RETRY_STORAGE;
		  }
		  break;

	  case BLUE_STEP:
		  HAL_GPIO_WritePin(GPIOD, GPIO_PIN_14, GPIO_PIN_SET);
		  HAL_GPIO_WritePin(GPIOD, GPIO_PIN_15, GPIO_PIN_RESET);

		  PID_moveToCoordinate(blue_step, blue_step_parameters, blue_step_numPoints);
		  if(blue_step_check)
		  {
			  mode = BLUE_STORAGE;
		  }
		  break;

	  case BLUE_STORAGE:
		  HAL_GPIO_WritePin(GPIOD, GPIO_PIN_14, GPIO_PIN_RESET);
		  HAL_GPIO_WritePin(GPIOD, GPIO_PIN_15, GPIO_PIN_SET);

		  setMotorSpeed(1, 0);
		  setMotorSpeed(2, 0);
		  setMotorSpeed(7, 0);
		  PID_EG(blue_storage, 2.4, 0.0, 0.0, 1.5, 0.9, 4500);
		  if(blue_storage_check)
		  {
			  mode = BLUE_FIND_BALL;
		  }
		  break;

	  case BLUE_FIND_BALL:
		  HAL_GPIO_WritePin(GPIOD, GPIO_PIN_14, GPIO_PIN_SET);
		  HAL_GPIO_WritePin(GPIOD, GPIO_PIN_15, GPIO_PIN_RESET);

		  findAndTakeBall(blueBall);
		  if(sensorMEGA[3] == 0 && camera[2] == 1)
		  {
			  mode = BLUE_FACING_SILO;
		  }
		  else if(sensorMEGA[3] == 0 && camera[2] == 0)
		  {
			  throwTheBall(blue_throwBall, 2.5, 0.0, 0.0, 1.5);
		  }
		  break;

	  case BLUE_FACING_SILO:
		  HAL_GPIO_WritePin(GPIOD, GPIO_PIN_14, GPIO_PIN_RESET);
		  HAL_GPIO_WritePin(GPIOD, GPIO_PIN_15, GPIO_PIN_SET);

		  servo_write(120);
		  PID_EG(blue_silo, 1.8, 0.0, 0.0, 1.5, 0.8, 3500);
		  if(blue_silo_check)
		  {
			  mode = BLUE_FIND_SILO;
		  }
		  break;

	  case BLUE_FIND_SILO:
		  HAL_GPIO_WritePin(GPIOD, GPIO_PIN_14, GPIO_PIN_SET);
		  HAL_GPIO_WritePin(GPIOD, GPIO_PIN_15, GPIO_PIN_RESET);

		  placeBallInSilo(blue_silo, 1.6, 0.0, 0.0, 1.5, 0.7, 2700);
		  if((FL_distance > 0 && FL_distance <= 10) || (FR_distance > 0 && FR_distance <= 10))
		  {
			  setMotorSpeed(1, -2000);
			  setMotorSpeed(2, -2000);
			  setMotorSpeed(7, -2800);
			  HAL_Delay(3000);
			  mode = BLUE_STORAGE;
		  }
		  break;

	  case BLUE_RETRY:
		  HAL_GPIO_WritePin(GPIOD, GPIO_PIN_14, GPIO_PIN_SET);
		  HAL_GPIO_WritePin(GPIOD, GPIO_PIN_15, GPIO_PIN_RESET);

		  PID_moveToCoordinate(blue_retry, blue_retry_parameters, blue_retry_numPoints);
		  if(blue_retry_check)
		  {
			  mode = BLUE_RETRY_STORAGE;
		  }
		  break;

	  case BLUE_RETRY_STORAGE:
		  HAL_GPIO_WritePin(GPIOD, GPIO_PIN_14, GPIO_PIN_RESET);
		  HAL_GPIO_WritePin(GPIOD, GPIO_PIN_15, GPIO_PIN_SET);

		  setMotorSpeed(1, 0);
		  setMotorSpeed(2, 0);
		  setMotorSpeed(7, 0);
		  PID_EG(blue_retry_storage, 1.8, 0.0, 0.0, 1.5, 0.8, 3700);
		  if(blue_retry_storage_check)
		  {
			  mode = BLUE_RETRY_FIND_BALL;
		  }
		  break;

	  case BLUE_RETRY_FIND_BALL:
		  HAL_GPIO_WritePin(GPIOD, GPIO_PIN_14, GPIO_PIN_SET);
		  HAL_GPIO_WritePin(GPIOD, GPIO_PIN_15, GPIO_PIN_RESET);

		  findAndTakeBall(blueRetryBall);
		  if(sensorMEGA[3] == 0 && camera[2] == 1)
		  {
			  mode = BLUE_RETRY_FACING_SILO;
		  }
		  else if(sensorMEGA[3] == 0 && camera[2] == 0)
		  {
			  throwTheBall(blue_retry_throwBall, 1.5, 0.0, 0.0, 1.5);
		  }
		  break;

	  case BLUE_RETRY_FACING_SILO:
		  HAL_GPIO_WritePin(GPIOD, GPIO_PIN_14, GPIO_PIN_RESET);
		  HAL_GPIO_WritePin(GPIOD, GPIO_PIN_15, GPIO_PIN_SET);

		  servo_write(120);
		  PID_EG(blue_retry_silo, 1.8, 0.0, 0.0, 1.5, 0.8, 3500);
		  if(blue_retry_silo_check)
		  {
			  mode = BLUE_RETRY_FIND_SILO;
		  }
		  break;

	  case BLUE_RETRY_FIND_SILO:
		  HAL_GPIO_WritePin(GPIOD, GPIO_PIN_14, GPIO_PIN_SET);
		  HAL_GPIO_WritePin(GPIOD, GPIO_PIN_15, GPIO_PIN_RESET);

		  placeBallInSilo(blue_retry_silo, 1.6, 0.0, 0.0, 1.5, 0.7, 2700);
		  if((FL_distance > 0 && FL_distance <= 10) || (FR_distance > 0 && FR_distance <= 10))
		  {
			  setMotorSpeed(1, -2000);
			  setMotorSpeed(2, -2000);
			  setMotorSpeed(7, -2800);
			  HAL_Delay(3000);
			  mode = BLUE_RETRY_STORAGE;
		  }
		  break;

	  default:
		  HAL_GPIO_WritePin(GPIOD, GPIO_PIN_14, GPIO_PIN_RESET);
		  HAL_GPIO_WritePin(GPIOD, GPIO_PIN_15, GPIO_PIN_RESET);

		  Inverse_Kinematics(0, 0, 0);
		  setMotorSpeed(1, 0);
		  setMotorSpeed(2, 0);
		  setMotorSpeed(7, 0);
		  break;
	  }
	  lcd_clear();
    /* USER CODE END WHILE */

  }
}

void SystemClock_Config(void)
{
  RCC_OscInitTypeDef RCC_OscInitStruct = {0};
  RCC_ClkInitTypeDef RCC_ClkInitStruct = {0};

  /** Configure the main internal regulator output voltage
  */
  __HAL_RCC_PWR_CLK_ENABLE();
  __HAL_PWR_VOLTAGESCALING_CONFIG(PWR_REGULATOR_VOLTAGE_SCALE1);

  /** Initializes the RCC Oscillators according to the specified parameters
  * in the RCC_OscInitTypeDef structure.
  */
  RCC_OscInitStruct.OscillatorType = RCC_OSCILLATORTYPE_HSE;
  RCC_OscInitStruct.HSEState = RCC_HSE_ON;
  RCC_OscInitStruct.PLL.PLLState = RCC_PLL_ON;
  RCC_OscInitStruct.PLL.PLLSource = RCC_PLLSOURCE_HSE;
  RCC_OscInitStruct.PLL.PLLM = 8;
  RCC_OscInitStruct.PLL.PLLN = 336;
  RCC_OscInitStruct.PLL.PLLP = RCC_PLLP_DIV2;
  RCC_OscInitStruct.PLL.PLLQ = 7;
  if (HAL_RCC_OscConfig(&RCC_OscInitStruct) != HAL_OK)
  {
    Error_Handler();
  }

  /** Initializes the CPU, AHB and APB buses clocks
  */
  RCC_ClkInitStruct.ClockType = RCC_CLOCKTYPE_HCLK|RCC_CLOCKTYPE_SYSCLK
                              |RCC_CLOCKTYPE_PCLK1|RCC_CLOCKTYPE_PCLK2;
  RCC_ClkInitStruct.SYSCLKSource = RCC_SYSCLKSOURCE_PLLCLK;
  RCC_ClkInitStruct.AHBCLKDivider = RCC_SYSCLK_DIV1;
  RCC_ClkInitStruct.APB1CLKDivider = RCC_HCLK_DIV4;
  RCC_ClkInitStruct.APB2CLKDivider = RCC_HCLK_DIV2;

  if (HAL_RCC_ClockConfig(&RCC_ClkInitStruct, FLASH_LATENCY_5) != HAL_OK)
  {
    Error_Handler();
  }
}

static void MX_I2C2_Init(void)
{

  hi2c2.Instance = I2C2;
  hi2c2.Init.ClockSpeed = 100000;
  hi2c2.Init.DutyCycle = I2C_DUTYCYCLE_2;
  hi2c2.Init.OwnAddress1 = 0;
  hi2c2.Init.AddressingMode = I2C_ADDRESSINGMODE_7BIT;
  hi2c2.Init.DualAddressMode = I2C_DUALADDRESS_DISABLE;
  hi2c2.Init.OwnAddress2 = 0;
  hi2c2.Init.GeneralCallMode = I2C_GENERALCALL_DISABLE;
  hi2c2.Init.NoStretchMode = I2C_NOSTRETCH_DISABLE;
  if (HAL_I2C_Init(&hi2c2) != HAL_OK)
  {
    Error_Handler();
  }

}

static void MX_TIM1_Init(void)
{

  TIM_ClockConfigTypeDef sClockSourceConfig = {0};
  TIM_MasterConfigTypeDef sMasterConfig = {0};
  TIM_OC_InitTypeDef sConfigOC = {0};
  TIM_BreakDeadTimeConfigTypeDef sBreakDeadTimeConfig = {0};

  htim1.Instance = TIM1;
  htim1.Init.Prescaler = 20;
  htim1.Init.CounterMode = TIM_COUNTERMODE_UP;
  htim1.Init.Period = 8000-1;
  htim1.Init.ClockDivision = TIM_CLOCKDIVISION_DIV1;
  htim1.Init.RepetitionCounter = 0;
  htim1.Init.AutoReloadPreload = TIM_AUTORELOAD_PRELOAD_DISABLE;
  if (HAL_TIM_Base_Init(&htim1) != HAL_OK)
  {
    Error_Handler();
  }
  sClockSourceConfig.ClockSource = TIM_CLOCKSOURCE_INTERNAL;
  if (HAL_TIM_ConfigClockSource(&htim1, &sClockSourceConfig) != HAL_OK)
  {
    Error_Handler();
  }
  if (HAL_TIM_PWM_Init(&htim1) != HAL_OK)
  {
    Error_Handler();
  }
  sMasterConfig.MasterOutputTrigger = TIM_TRGO_RESET;
  sMasterConfig.MasterSlaveMode = TIM_MASTERSLAVEMODE_DISABLE;
  if (HAL_TIMEx_MasterConfigSynchronization(&htim1, &sMasterConfig) != HAL_OK)
  {
    Error_Handler();
  }
  sConfigOC.OCMode = TIM_OCMODE_PWM1;
  sConfigOC.Pulse = 0;
  sConfigOC.OCPolarity = TIM_OCPOLARITY_HIGH;
  sConfigOC.OCNPolarity = TIM_OCNPOLARITY_HIGH;
  sConfigOC.OCFastMode = TIM_OCFAST_DISABLE;
  sConfigOC.OCIdleState = TIM_OCIDLESTATE_RESET;
  sConfigOC.OCNIdleState = TIM_OCNIDLESTATE_RESET;
  if (HAL_TIM_PWM_ConfigChannel(&htim1, &sConfigOC, TIM_CHANNEL_1) != HAL_OK)
  {
    Error_Handler();
  }
  if (HAL_TIM_PWM_ConfigChannel(&htim1, &sConfigOC, TIM_CHANNEL_2) != HAL_OK)
  {
    Error_Handler();
  }
  if (HAL_TIM_PWM_ConfigChannel(&htim1, &sConfigOC, TIM_CHANNEL_3) != HAL_OK)
  {
    Error_Handler();
  }
  if (HAL_TIM_PWM_ConfigChannel(&htim1, &sConfigOC, TIM_CHANNEL_4) != HAL_OK)
  {
    Error_Handler();
  }
  sBreakDeadTimeConfig.OffStateRunMode = TIM_OSSR_DISABLE;
  sBreakDeadTimeConfig.OffStateIDLEMode = TIM_OSSI_DISABLE;
  sBreakDeadTimeConfig.LockLevel = TIM_LOCKLEVEL_OFF;
  sBreakDeadTimeConfig.DeadTime = 0;
  sBreakDeadTimeConfig.BreakState = TIM_BREAK_DISABLE;
  sBreakDeadTimeConfig.BreakPolarity = TIM_BREAKPOLARITY_HIGH;
  sBreakDeadTimeConfig.AutomaticOutput = TIM_AUTOMATICOUTPUT_DISABLE;
  if (HAL_TIMEx_ConfigBreakDeadTime(&htim1, &sBreakDeadTimeConfig) != HAL_OK)
  {
    Error_Handler();
  }
  HAL_TIM_MspPostInit(&htim1);

}

static void MX_TIM2_Init(void)
{

  TIM_ClockConfigTypeDef sClockSourceConfig = {0};
  TIM_MasterConfigTypeDef sMasterConfig = {0};
  TIM_OC_InitTypeDef sConfigOC = {0};

  htim2.Instance = TIM2;
  htim2.Init.Prescaler = 1680-1;
  htim2.Init.CounterMode = TIM_COUNTERMODE_UP;
  htim2.Init.Period = 999;
  htim2.Init.ClockDivision = TIM_CLOCKDIVISION_DIV1;
  htim2.Init.AutoReloadPreload = TIM_AUTORELOAD_PRELOAD_DISABLE;
  if (HAL_TIM_Base_Init(&htim2) != HAL_OK)
  {
    Error_Handler();
  }
  sClockSourceConfig.ClockSource = TIM_CLOCKSOURCE_INTERNAL;
  if (HAL_TIM_ConfigClockSource(&htim2, &sClockSourceConfig) != HAL_OK)
  {
    Error_Handler();
  }
  if (HAL_TIM_PWM_Init(&htim2) != HAL_OK)
  {
    Error_Handler();
  }
  sMasterConfig.MasterOutputTrigger = TIM_TRGO_RESET;
  sMasterConfig.MasterSlaveMode = TIM_MASTERSLAVEMODE_DISABLE;
  if (HAL_TIMEx_MasterConfigSynchronization(&htim2, &sMasterConfig) != HAL_OK)
  {
    Error_Handler();
  }
  sConfigOC.OCMode = TIM_OCMODE_PWM1;
  sConfigOC.Pulse = 0;
  sConfigOC.OCPolarity = TIM_OCPOLARITY_HIGH;
  sConfigOC.OCFastMode = TIM_OCFAST_DISABLE;
  if (HAL_TIM_PWM_ConfigChannel(&htim2, &sConfigOC, TIM_CHANNEL_3) != HAL_OK)
  {
    Error_Handler();
  }
  if (HAL_TIM_PWM_ConfigChannel(&htim2, &sConfigOC, TIM_CHANNEL_4) != HAL_OK)
  {
    Error_Handler();
  }
  HAL_TIM_MspPostInit(&htim2);

}

static void MX_TIM8_Init(void)
{

  TIM_ClockConfigTypeDef sClockSourceConfig = {0};
  TIM_MasterConfigTypeDef sMasterConfig = {0};
  TIM_OC_InitTypeDef sConfigOC = {0};
  TIM_BreakDeadTimeConfigTypeDef sBreakDeadTimeConfig = {0};

  htim8.Instance = TIM8;
  htim8.Init.Prescaler = 20;
  htim8.Init.CounterMode = TIM_COUNTERMODE_UP;
  htim8.Init.Period = 8000-1;
  htim8.Init.ClockDivision = TIM_CLOCKDIVISION_DIV1;
  htim8.Init.RepetitionCounter = 0;
  htim8.Init.AutoReloadPreload = TIM_AUTORELOAD_PRELOAD_DISABLE;
  if (HAL_TIM_Base_Init(&htim8) != HAL_OK)
  {
    Error_Handler();
  }
  sClockSourceConfig.ClockSource = TIM_CLOCKSOURCE_INTERNAL;
  if (HAL_TIM_ConfigClockSource(&htim8, &sClockSourceConfig) != HAL_OK)
  {
    Error_Handler();
  }
  if (HAL_TIM_PWM_Init(&htim8) != HAL_OK)
  {
    Error_Handler();
  }
  sMasterConfig.MasterOutputTrigger = TIM_TRGO_RESET;
  sMasterConfig.MasterSlaveMode = TIM_MASTERSLAVEMODE_DISABLE;
  if (HAL_TIMEx_MasterConfigSynchronization(&htim8, &sMasterConfig) != HAL_OK)
  {
    Error_Handler();
  }
  sConfigOC.OCMode = TIM_OCMODE_PWM1;
  sConfigOC.Pulse = 0;
  sConfigOC.OCPolarity = TIM_OCPOLARITY_HIGH;
  sConfigOC.OCNPolarity = TIM_OCNPOLARITY_HIGH;
  sConfigOC.OCFastMode = TIM_OCFAST_DISABLE;
  sConfigOC.OCIdleState = TIM_OCIDLESTATE_RESET;
  sConfigOC.OCNIdleState = TIM_OCNIDLESTATE_RESET;
  if (HAL_TIM_PWM_ConfigChannel(&htim8, &sConfigOC, TIM_CHANNEL_1) != HAL_OK)
  {
    Error_Handler();
  }
  if (HAL_TIM_PWM_ConfigChannel(&htim8, &sConfigOC, TIM_CHANNEL_2) != HAL_OK)
  {
    Error_Handler();
  }
  if (HAL_TIM_PWM_ConfigChannel(&htim8, &sConfigOC, TIM_CHANNEL_3) != HAL_OK)
  {
    Error_Handler();
  }
  if (HAL_TIM_PWM_ConfigChannel(&htim8, &sConfigOC, TIM_CHANNEL_4) != HAL_OK)
  {
    Error_Handler();
  }
  sBreakDeadTimeConfig.OffStateRunMode = TIM_OSSR_DISABLE;
  sBreakDeadTimeConfig.OffStateIDLEMode = TIM_OSSI_DISABLE;
  sBreakDeadTimeConfig.LockLevel = TIM_LOCKLEVEL_OFF;
  sBreakDeadTimeConfig.DeadTime = 0;
  sBreakDeadTimeConfig.BreakState = TIM_BREAK_DISABLE;
  sBreakDeadTimeConfig.BreakPolarity = TIM_BREAKPOLARITY_HIGH;
  sBreakDeadTimeConfig.AutomaticOutput = TIM_AUTOMATICOUTPUT_DISABLE;
  if (HAL_TIMEx_ConfigBreakDeadTime(&htim8, &sBreakDeadTimeConfig) != HAL_OK)
  {
    Error_Handler();
  }
  HAL_TIM_MspPostInit(&htim8);

}

static void MX_USART1_UART_Init(void)
{

  huart1.Instance = USART1;
  huart1.Init.BaudRate = 19200;
  huart1.Init.WordLength = UART_WORDLENGTH_8B;
  huart1.Init.StopBits = UART_STOPBITS_1;
  huart1.Init.Parity = UART_PARITY_NONE;
  huart1.Init.Mode = UART_MODE_TX_RX;
  huart1.Init.HwFlowCtl = UART_HWCONTROL_NONE;
  huart1.Init.OverSampling = UART_OVERSAMPLING_16;
  if (HAL_UART_Init(&huart1) != HAL_OK)
  {
    Error_Handler();
  }

}

static void MX_USART2_UART_Init(void)
{

  huart2.Instance = USART2;
  huart2.Init.BaudRate = 115200;
  huart2.Init.WordLength = UART_WORDLENGTH_8B;
  huart2.Init.StopBits = UART_STOPBITS_1;
  huart2.Init.Parity = UART_PARITY_NONE;
  huart2.Init.Mode = UART_MODE_TX_RX;
  huart2.Init.HwFlowCtl = UART_HWCONTROL_NONE;
  huart2.Init.OverSampling = UART_OVERSAMPLING_16;
  if (HAL_UART_Init(&huart2) != HAL_OK)
  {
    Error_Handler();
  }

}

static void MX_USART3_UART_Init(void)
{

  huart3.Instance = USART3;
  huart3.Init.BaudRate = 38400;
  huart3.Init.WordLength = UART_WORDLENGTH_8B;
  huart3.Init.StopBits = UART_STOPBITS_1;
  huart3.Init.Parity = UART_PARITY_NONE;
  huart3.Init.Mode = UART_MODE_TX_RX;
  huart3.Init.HwFlowCtl = UART_HWCONTROL_NONE;
  huart3.Init.OverSampling = UART_OVERSAMPLING_16;
  if (HAL_UART_Init(&huart3) != HAL_OK)
  {
    Error_Handler();
  }

}

static void MX_GPIO_Init(void)
{
  GPIO_InitTypeDef GPIO_InitStruct = {0};

  /* GPIO Ports Clock Enable */
  __HAL_RCC_GPIOE_CLK_ENABLE();
  __HAL_RCC_GPIOC_CLK_ENABLE();
  __HAL_RCC_GPIOH_CLK_ENABLE();
  __HAL_RCC_GPIOA_CLK_ENABLE();
  __HAL_RCC_GPIOB_CLK_ENABLE();
  __HAL_RCC_GPIOD_CLK_ENABLE();

  /*Configure GPIO pin Output Level */
  HAL_GPIO_WritePin(GPIOE, GPIO_PIN_2|GPIO_PIN_3|GPIO_PIN_4|GPIO_PIN_5
                          |GPIO_PIN_6|GPIO_PIN_0|GPIO_PIN_1, GPIO_PIN_RESET);

  /*Configure GPIO pin Output Level */
  HAL_GPIO_WritePin(GPIOC, GPIO_PIN_13|GPIO_PIN_14|GPIO_PIN_15|GPIO_PIN_4
                          |GPIO_PIN_5|GPIO_PIN_12, GPIO_PIN_RESET);

  /*Configure GPIO pin Output Level */
  HAL_GPIO_WritePin(GPIOB, GPIO_PIN_0|GPIO_PIN_1, GPIO_PIN_RESET);

  /*Configure GPIO pin Output Level */
  HAL_GPIO_WritePin(GPIOD, GPIO_PIN_14|GPIO_PIN_15|GPIO_PIN_0|GPIO_PIN_1
                          |GPIO_PIN_2|GPIO_PIN_3|GPIO_PIN_4, GPIO_PIN_RESET);

  /*Configure GPIO pins : PE2 PE3 PE4 PE5
                           PE6 PE0 PE1 */
  GPIO_InitStruct.Pin = GPIO_PIN_2|GPIO_PIN_3|GPIO_PIN_4|GPIO_PIN_5
                          |GPIO_PIN_6|GPIO_PIN_0|GPIO_PIN_1;
  GPIO_InitStruct.Mode = GPIO_MODE_OUTPUT_OD;
  GPIO_InitStruct.Pull = GPIO_NOPULL;
  GPIO_InitStruct.Speed = GPIO_SPEED_FREQ_VERY_HIGH;
  HAL_GPIO_Init(GPIOE, &GPIO_InitStruct);

  /*Configure GPIO pins : PC13 PC14 PC15 */
  GPIO_InitStruct.Pin = GPIO_PIN_13|GPIO_PIN_14|GPIO_PIN_15;
  GPIO_InitStruct.Mode = GPIO_MODE_OUTPUT_OD;
  GPIO_InitStruct.Pull = GPIO_NOPULL;
  GPIO_InitStruct.Speed = GPIO_SPEED_FREQ_LOW;
  HAL_GPIO_Init(GPIOC, &GPIO_InitStruct);

  /*Configure GPIO pins : EA_2_Pin EinA_1_Pin */
  GPIO_InitStruct.Pin = EA_2_Pin|EinA_1_Pin;
  GPIO_InitStruct.Mode = GPIO_MODE_INPUT;
  GPIO_InitStruct.Pull = GPIO_PULLUP;
  HAL_GPIO_Init(GPIOC, &GPIO_InitStruct);

  /*Configure GPIO pins : EB_2_Pin EinB_1_Pin */
  GPIO_InitStruct.Pin = EB_2_Pin|EinB_1_Pin;
  GPIO_InitStruct.Mode = GPIO_MODE_IT_RISING;
  GPIO_InitStruct.Pull = GPIO_PULLUP;
  HAL_GPIO_Init(GPIOC, &GPIO_InitStruct);

  /*Configure GPIO pins : EinB_2_Pin EinB_4_Pin */
  GPIO_InitStruct.Pin = EinB_2_Pin|EinB_4_Pin;
  GPIO_InitStruct.Mode = GPIO_MODE_IT_RISING;
  GPIO_InitStruct.Pull = GPIO_PULLUP;
  HAL_GPIO_Init(GPIOA, &GPIO_InitStruct);

  /*Configure GPIO pins : EinA_2_Pin EinA_4_Pin EA_1_Pin */
  GPIO_InitStruct.Pin = EinA_2_Pin|EinA_4_Pin|EA_1_Pin;
  GPIO_InitStruct.Mode = GPIO_MODE_INPUT;
  GPIO_InitStruct.Pull = GPIO_PULLUP;
  HAL_GPIO_Init(GPIOA, &GPIO_InitStruct);

  /*Configure GPIO pin : Button_1_Pin */
  GPIO_InitStruct.Pin = Button_1_Pin;
  GPIO_InitStruct.Mode = GPIO_MODE_IT_FALLING;
  GPIO_InitStruct.Pull = GPIO_PULLUP;
  HAL_GPIO_Init(Button_1_GPIO_Port, &GPIO_InitStruct);

  /*Configure GPIO pins : PC4 PC5 PC12 */
  GPIO_InitStruct.Pin = GPIO_PIN_4|GPIO_PIN_5|GPIO_PIN_12;
  GPIO_InitStruct.Mode = GPIO_MODE_OUTPUT_OD;
  GPIO_InitStruct.Pull = GPIO_NOPULL;
  GPIO_InitStruct.Speed = GPIO_SPEED_FREQ_VERY_HIGH;
  HAL_GPIO_Init(GPIOC, &GPIO_InitStruct);

  /*Configure GPIO pins : PB0 PB1 */
  GPIO_InitStruct.Pin = GPIO_PIN_0|GPIO_PIN_1;
  GPIO_InitStruct.Mode = GPIO_MODE_OUTPUT_OD;
  GPIO_InitStruct.Pull = GPIO_NOPULL;
  GPIO_InitStruct.Speed = GPIO_SPEED_FREQ_VERY_HIGH;
  HAL_GPIO_Init(GPIOB, &GPIO_InitStruct);

  /*Configure GPIO pins : Button_2_Pin Button_3_Pin */
  GPIO_InitStruct.Pin = Button_2_Pin|Button_3_Pin;
  GPIO_InitStruct.Mode = GPIO_MODE_IT_FALLING;
  GPIO_InitStruct.Pull = GPIO_PULLUP;
  HAL_GPIO_Init(GPIOE, &GPIO_InitStruct);

  /*Configure GPIO pin : Button_4_Pin */
  GPIO_InitStruct.Pin = Button_4_Pin;
  GPIO_InitStruct.Mode = GPIO_MODE_IT_FALLING;
  GPIO_InitStruct.Pull = GPIO_PULLUP;
  HAL_GPIO_Init(Button_4_GPIO_Port, &GPIO_InitStruct);

  /*Configure GPIO pin : EinA_3_Pin */
  GPIO_InitStruct.Pin = EinA_3_Pin;
  GPIO_InitStruct.Mode = GPIO_MODE_INPUT;
  GPIO_InitStruct.Pull = GPIO_PULLUP;
  HAL_GPIO_Init(EinA_3_GPIO_Port, &GPIO_InitStruct);

  /*Configure GPIO pin : EinB_3_Pin */
  GPIO_InitStruct.Pin = EinB_3_Pin;
  GPIO_InitStruct.Mode = GPIO_MODE_IT_RISING;
  GPIO_InitStruct.Pull = GPIO_PULLUP;
  HAL_GPIO_Init(EinB_3_GPIO_Port, &GPIO_InitStruct);

  /*Configure GPIO pins : PD14 PD15 */
  GPIO_InitStruct.Pin = GPIO_PIN_14|GPIO_PIN_15;
  GPIO_InitStruct.Mode = GPIO_MODE_OUTPUT_PP;
  GPIO_InitStruct.Pull = GPIO_PULLDOWN;
  GPIO_InitStruct.Speed = GPIO_SPEED_FREQ_LOW;
  HAL_GPIO_Init(GPIOD, &GPIO_InitStruct);

  /*Configure GPIO pins : PD0 PD1 PD2 PD3
                           PD4 */
  GPIO_InitStruct.Pin = GPIO_PIN_0|GPIO_PIN_1|GPIO_PIN_2|GPIO_PIN_3
                          |GPIO_PIN_4;
  GPIO_InitStruct.Mode = GPIO_MODE_OUTPUT_OD;
  GPIO_InitStruct.Pull = GPIO_NOPULL;
  GPIO_InitStruct.Speed = GPIO_SPEED_FREQ_VERY_HIGH;
  HAL_GPIO_Init(GPIOD, &GPIO_InitStruct);

  /*Configure GPIO pins : EB_1_Pin EB_3_Pin */
  GPIO_InitStruct.Pin = EB_1_Pin|EB_3_Pin;
  GPIO_InitStruct.Mode = GPIO_MODE_IT_RISING;
  GPIO_InitStruct.Pull = GPIO_PULLUP;
  HAL_GPIO_Init(GPIOB, &GPIO_InitStruct);

  /*Configure GPIO pin : EA_3_Pin */
  GPIO_InitStruct.Pin = EA_3_Pin;
  GPIO_InitStruct.Mode = GPIO_MODE_INPUT;
  GPIO_InitStruct.Pull = GPIO_PULLUP;
  HAL_GPIO_Init(EA_3_GPIO_Port, &GPIO_InitStruct);

  /* EXTI interrupt init*/
  HAL_NVIC_SetPriority(EXTI0_IRQn, 0, 0);
  HAL_NVIC_EnableIRQ(EXTI0_IRQn);

  HAL_NVIC_SetPriority(EXTI1_IRQn, 0, 0);
  HAL_NVIC_EnableIRQ(EXTI1_IRQn);

  HAL_NVIC_SetPriority(EXTI2_IRQn, 0, 0);
  HAL_NVIC_EnableIRQ(EXTI2_IRQn);

  HAL_NVIC_SetPriority(EXTI3_IRQn, 0, 0);
  HAL_NVIC_EnableIRQ(EXTI3_IRQn);

  HAL_NVIC_SetPriority(EXTI9_5_IRQn, 0, 0);
  HAL_NVIC_EnableIRQ(EXTI9_5_IRQn);

  HAL_NVIC_SetPriority(EXTI15_10_IRQn, 0, 0);
  HAL_NVIC_EnableIRQ(EXTI15_10_IRQn);

}

/* USER CODE BEGIN 4 */
/**
 * @brief	Callback function for UART receive complete interrupt.
 *
 * This function handles data reception over UART for multiple UART instances (USART1, USART2, USART3).
 * It reads data until a newline is received, then processes the received data
 * by splitting it using commas and converting the tokens to floating-point or integer values, which are stored
 * in appropriate arrays.
 * After processing the data, it clears the receive buffer and re-enables the UART receive interrupt.
 *
 * @param	huart UART handle that triggered the interrupt.
 * @return	None.
 */
void HAL_UART_RxCpltCallback(UART_HandleTypeDef *huart)
{
	if(huart->Instance == USART1)
	{
		if(receive[rxIndex] == '\r' || receive[rxIndex] == '\n')
		{
			receive[rxIndex] = '\0';
			char *token = strtok((char *)receive, ",");
			dataIndex = 0;
			while(token != NULL)
			{
				sensorData[dataIndex++] = atof(token);
				token = strtok(NULL, ",");
			}
			memset(receive, 0, sizeof(receive));
			rxIndex = 0;
			if(HAL_UART_Receive_IT(&huart1, receive, 1) != HAL_OK)
			{
				Error_Handler();
			}
		}
		else
		{
			rxIndex++;
			if(HAL_UART_Receive_IT(&huart1, receive + rxIndex, 1) != HAL_OK)
			{
				Error_Handler();
			}
		}
	}
	if(huart->Instance == USART2)
	{
		if(receiveCAM[indexCAM] == '\r' || receiveCAM[indexCAM] == '\n')
		{
			receiveCAM[indexCAM] = '\0';
			char *token = strtok((char *)receiveCAM, ",");
			dataindexCAM = 0;
			while(token != NULL)
			{
				camera[dataindexCAM++] = atoi(token);
				token = strtok(NULL, ",");
			}
			memset(receiveCAM, 0, sizeof(receiveCAM));
			indexCAM = 0;
			if(HAL_UART_Receive_IT(&huart2, receiveCAM, 1) != HAL_OK)
			{
				Error_Handler();
			}
		}
		else
		{
			indexCAM++;
			if(HAL_UART_Receive_IT(&huart2, receiveCAM + indexCAM, 1) != HAL_OK)
			{
				Error_Handler();
			}
		}
	}
	if(huart->Instance == USART3)
	{
		if(receiveMEGA[indexMEGA] == '\r' || receiveMEGA[indexMEGA] == '\n')
		{
			receiveMEGA[indexMEGA] = '\0';
			char *token = strtok((char *)receiveMEGA, ",");
			dataindexMEGA = 0;
			while(token != NULL)
			{
				sensorMEGA[dataindexMEGA++] = atoi(token);
				token = strtok(NULL, ",");
			}
			memset(receiveMEGA, 0, sizeof(receiveMEGA));
			indexMEGA = 0;
			if(HAL_UART_Receive_IT(&huart3, receiveMEGA, 1) != HAL_OK)
			{
				Error_Handler();
			}
		}
		else
		{
			indexMEGA++;
			if(HAL_UART_Receive_IT(&huart3, receiveMEGA + indexMEGA, 1) != HAL_OK)
			{
				Error_Handler();
			}
		}
	}
}
/* USER CODE END 4 */

void Error_Handler(void)
{
  /* USER CODE BEGIN Error_Handler_Debug */
  /* User can add his own implementation to report the HAL error return state */
  __disable_irq();
  while (1)
  {
	  Inverse_Kinematics(0, 0, 0);
	  setMotorSpeed(1, 0);
	  setMotorSpeed(2, 0);
	  setMotorSpeed(7, 0);
  }
  /* USER CODE END Error_Handler_Debug */
}
